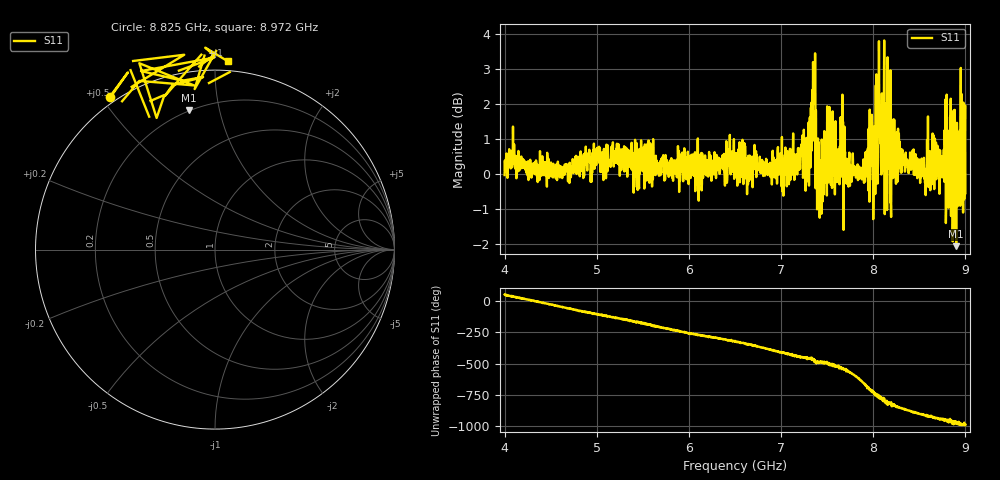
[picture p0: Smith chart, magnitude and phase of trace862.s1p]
! Created with skrf 1.8.0 (http://scikit-rf.org).
# Hz S RI R 50.0
!freq ReS11 ImS11
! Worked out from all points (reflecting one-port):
!   1601 points, 4 GHz to 9 GHz, reference 50 ohm
!   lowest |S11| = -2.1 dB at 8.9 GHz (marker M1), VSWR 8.51, Z = 9.83 + j40.6 ohm
!   phase of S11 starts at 54 deg and turns -1044 deg over the sweep
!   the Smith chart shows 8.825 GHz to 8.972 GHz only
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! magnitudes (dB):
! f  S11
! 4 GHz  0.0
! 4.094 GHz  0.4
! 4.625 GHz  -0.1
! 5.25 GHz  0.0
! 5.875 GHz  0.1
! 6.5 GHz  0.3
! 7.125 GHz  0.3
! 7.278 GHz  0.0
! 7.319 GHz  0.2
! 7.347 GHz  3.2
! 7.384 GHz  0.3
! 7.4 GHz  1.0
! 7.438 GHz  -1.1
! 7.538 GHz  1.4
! 7.609 GHz  0.2
! 7.669 GHz  0.7
! 7.703 GHz  0.3
! 7.75 GHz  0.3
! 7.888 GHz  0.0
! 8.022 GHz  -0.6
! 8.05 GHz  2.0
! 8.178 GHz  2.0
! 8.216 GHz  0.8
! 8.375 GHz  0.3
! 8.556 GHz  -0.1
! 8.9 GHz  -2.1
! 8.972 GHz  0.4
! 9 GHz  -0.5
